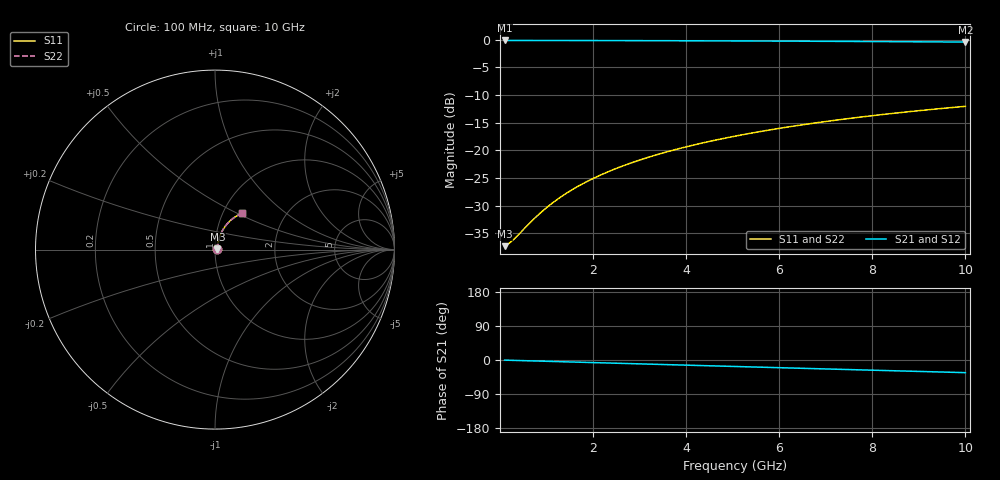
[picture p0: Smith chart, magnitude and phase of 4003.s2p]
# Hz S RI R 50.00
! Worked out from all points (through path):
!   100 points, 100 MHz to 10 GHz, reference 50 ohm
!   highest |S21| = -0.12 dB at 100 MHz (marker M1); lowest = -0.4 dB at 10 GHz (marker M2)
!   group delay of S21, straight-line fit = 9.28 ps
!   lowest |S11| = -37.3 dB at 100 MHz (marker M3), VSWR 1.03, Z = 51.4 + j0.27 ohm
!   |S11| at or under -10 dB: start of sweep to end of sweep
!   |S22| runs from -37.3 to -12.0 dB; largest |S21 - S12| = 0
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1e8  0.0134 0.00263  0.9866 -0.00587  0.9866 -0.00587  0.0134 0.00263
2e8  0.0135 0.00525  0.9865 -0.0117  0.9865 -0.0117  0.0135 0.00525
3e8  0.0136 0.00788  0.9863 -0.0176  0.9863 -0.0176  0.0136 0.00788
6e8  0.0142 0.0157  0.9856 -0.0352  0.9856 -0.0352  0.0142 0.0157
8e8  0.0147 0.021  0.9849 -0.0469  0.9849 -0.0469  0.0147 0.021
9e8  0.015 0.0236  0.9846 -0.0527  0.9846 -0.0527  0.015 0.0236
1.1e9  0.0157 0.0288  0.9837 -0.0644  0.9837 -0.0644  0.0157 0.0288
1.4e9  0.0169 0.0365  0.982 -0.0819  0.982 -0.0819  0.0169 0.0365
1.6e9  0.0179 0.0417  0.9807 -0.0935  0.9807 -0.0935  0.0179 0.0417
1.8e9  0.019 0.0468  0.9793 -0.1051  0.9793 -0.1051  0.019 0.0468
2.1e9  0.0208 0.0544  0.9768 -0.1225  0.9768 -0.1225  0.0208 0.0544
2.5e9  0.0237 0.0645  0.9729 -0.1455  0.9729 -0.1455  0.0237 0.0645
2.9e9  0.0271 0.0744  0.9684 -0.1683  0.9684 -0.1683  0.0271 0.0744
3.4e9  0.0319 0.0865  0.9619 -0.1966  0.9619 -0.1966  0.0319 0.0865
3.8e9  0.0363 0.0959  0.9559 -0.219  0.9559 -0.219  0.0363 0.0959
4.2e9  0.0411 0.1051  0.9494 -0.2412  0.9494 -0.2412  0.0411 0.1051
5.1e9  0.0534 0.1248  0.9326 -0.29  0.9326 -0.29  0.0534 0.1248
5.9e9  0.066 0.1411  0.9153 -0.3322  0.9153 -0.3322  0.066 0.1411
6.7e9  0.0799 0.156  0.8959 -0.373  0.8959 -0.373  0.0799 0.156
7.5e9  0.0951 0.1695  0.8746 -0.4124  0.8746 -0.4124  0.0951 0.1695
8.4e9  0.1134 0.1828  0.8484 -0.4548  0.8484 -0.4548  0.1134 0.1828
1e10  0.1486 0.2014  0.797 -0.525  0.797 -0.525  0.1486 0.2014
